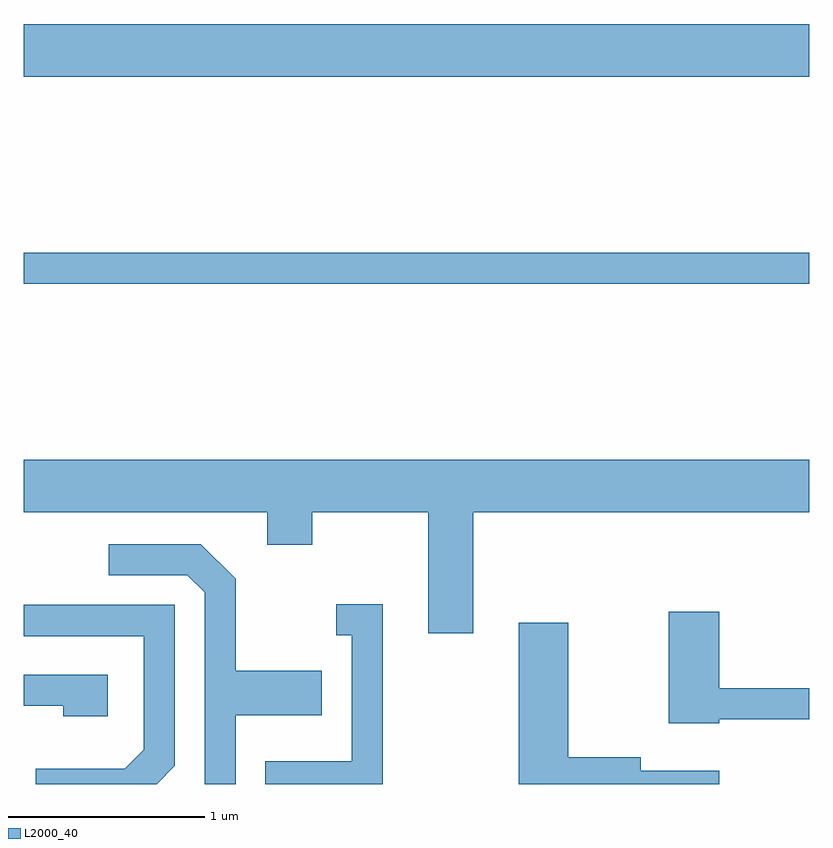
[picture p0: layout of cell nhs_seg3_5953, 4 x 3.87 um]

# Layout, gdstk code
import gdstk
lib = gdstk.Library(unit=1e-6, precision=1e-09)
def R(c, l, rs):  # rectangles x0, y0, x1, y1
    for r in rs: c.add(gdstk.rectangle(r[:2], r[2:], *l))
def P(c, l, *ps):  # polygons
    for p in ps: c.add(gdstk.Polygon(p, *l))
L2000_40 = (2000, 40)

nhs_seg3_5953 = lib.new_cell('nhs_seg3_5953')
R(nhs_seg3_5953, L2000_40, [(359.611,1200.441,363.611,1200.599), (359.611,1201.496,363.611,1201.764)])
P(nhs_seg3_5953, L2000_40, [(361.899,1199.276),(363.611,1199.276),(363.611,1199.544),(359.611,1199.544),(359.611,1199.276),(360.851,1199.276),(360.851,1199.111),(361.079,1199.111),(361.079,1199.276),(361.671,1199.276),(361.671,1198.661),(361.899,1198.661)],
  [(360.689,1198.241),(361.129,1198.241),(361.129,1198.469),(360.689,1198.469),(360.689,1198.937),(360.512,1199.114),(360.043,1199.114),(360.043,1198.956),(360.444,1198.956),(360.531,1198.869),(360.531,1197.892),(360.689,1197.892)],
  [(361.439,1198.809),(361.203,1198.809),(361.203,1198.651),(361.281,1198.651),(361.281,1198.009),(360.841,1198.009),(360.841,1197.892),(361.439,1197.892)],
  [(360.379,1197.984),(360.379,1198.804),(359.611,1198.804),(359.611,1198.646),(360.221,1198.646),(360.221,1198.067),(360.124,1197.969),(359.671,1197.969),(359.671,1197.892),(360.288,1197.892)],
  [(363.154,1198.221),(363.611,1198.221),(363.611,1198.379),(363.154,1198.379),(363.154,1198.769),(362.896,1198.769),(362.896,1198.201),(363.154,1198.201)],
  [(363.154,1197.959),(362.754,1197.959),(362.754,1198.029),(362.384,1198.029),(362.384,1198.714),(362.131,1198.714),(362.131,1197.892),(363.154,1197.892)],
  [(360.039,1198.449),(359.611,1198.449),(359.611,1198.291),(359.811,1198.291),(359.811,1198.236),(360.039,1198.236)])

lib.write_gds('nhs_seg3_5953.gds')
